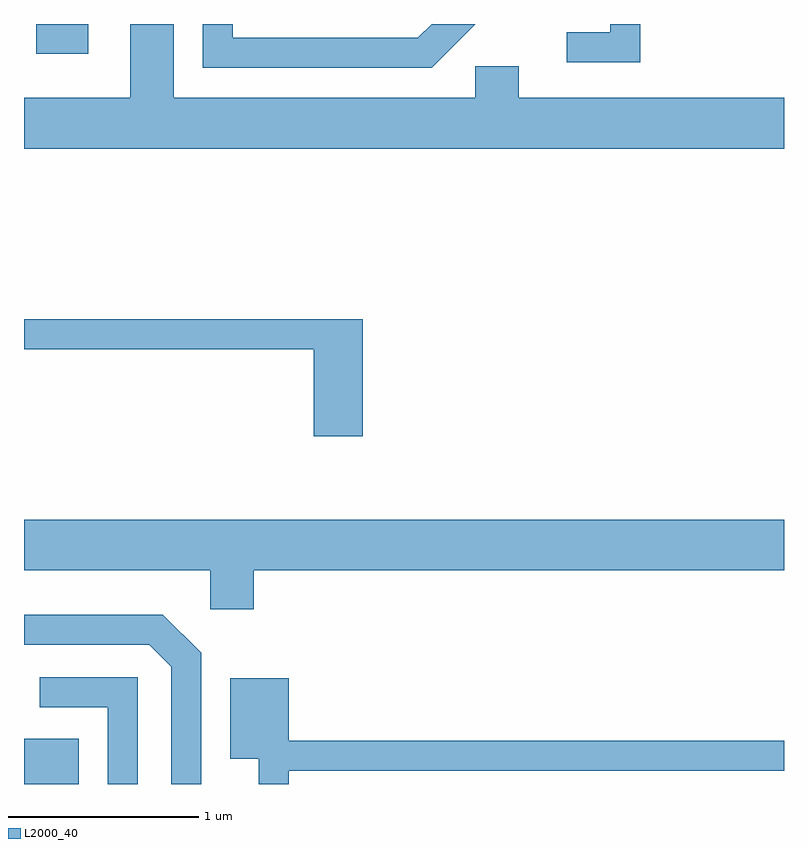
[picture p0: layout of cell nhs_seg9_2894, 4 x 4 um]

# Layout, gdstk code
import gdstk
lib = gdstk.Library(unit=1e-6, precision=1e-09)
def R(c, l, rs):  # rectangles x0, y0, x1, y1
    for r in rs: c.add(gdstk.rectangle(r[:2], r[2:], *l))
def P(c, l, *ps):  # polygons
    for p in ps: c.add(gdstk.Polygon(p, *l))
L2000_40 = (2000, 40)

nhs_seg9_2894 = lib.new_cell('nhs_seg9_2894')
R(nhs_seg9_2894, L2000_40, [(269.611,2028.432,269.899,2028.669), (269.676,2032.276,269.948,2032.432)])
P(nhs_seg9_2894, L2000_40, [(273.611,2032.044),(272.214,2032.044),(272.214,2032.209),(271.986,2032.209),(271.986,2032.044),(270.399,2032.044),(270.399,2032.432),(270.171,2032.432),(270.171,2032.044),(269.611,2032.044),(269.611,2031.776),(273.611,2031.776)],
  [(271.987,2032.432),(271.757,2032.432),(271.684,2032.359),(270.709,2032.359),(270.709,2032.432),(270.551,2032.432),(270.551,2032.201),(271.757,2032.201)],
  [(272.854,2032.432),(272.696,2032.432),(272.696,2032.389),(272.468,2032.389),(272.468,2032.231),(272.854,2032.231)],
  [(271.394,2030.879),(269.611,2030.879),(269.611,2030.721),(271.136,2030.721),(271.136,2030.261),(271.394,2030.261)],
  [(270.819,2029.556),(273.611,2029.556),(273.611,2029.824),(269.611,2029.824),(269.611,2029.556),(270.591,2029.556),(270.591,2029.351),(270.819,2029.351)],
  [(270.544,2029.122),(270.342,2029.324),(269.611,2029.324),(269.611,2029.166),(270.269,2029.166),(270.386,2029.049),(270.386,2028.432),(270.544,2028.432)],
  [(270.209,2028.994),(269.693,2028.994),(269.693,2028.836),(270.051,2028.836),(270.051,2028.432),(270.209,2028.432)],
  [(271.004,2028.501),(273.611,2028.501),(273.611,2028.659),(271.004,2028.659),(271.004,2028.989),(270.696,2028.989),(270.696,2028.566),(270.846,2028.566),(270.846,2028.432),(271.004,2028.432)])

lib.write_gds('nhs_seg9_2894.gds')
